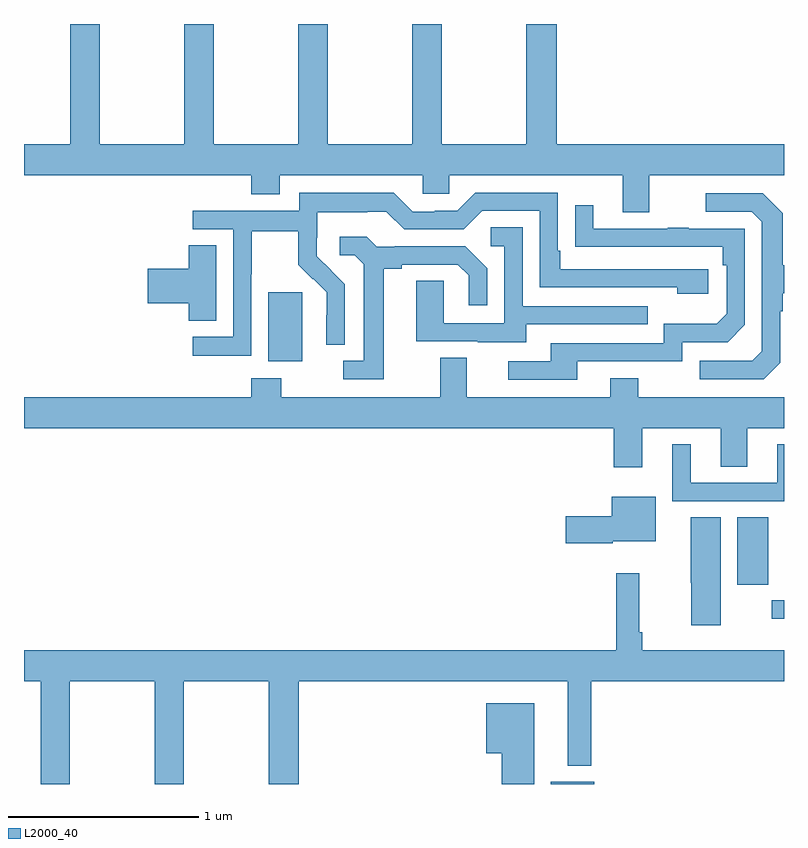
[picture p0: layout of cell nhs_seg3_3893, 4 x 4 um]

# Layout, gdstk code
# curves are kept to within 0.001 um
import gdstk
lib = gdstk.Library(unit=1e-6, precision=1e-09)
def R(c, l, rs):  # rectangles x0, y0, x1, y1
    for r in rs: c.add(gdstk.rectangle(r[:2], r[2:], *l))
def P(c, l, *ps):  # polygons
    for p in ps: c.add(gdstk.Polygon(p, *l))
L2000_40 = (2000, 40)

nhs_seg3_3893 = lib.new_cell('nhs_seg3_3893')
R(nhs_seg3_3893, L2000_40, [(315.773,676.4,316,676.411), (316.935,677.27,317,677.367), (316.754,677.448,316.918,677.804), (314.285,678.626,314.464,678.987)])
P(nhs_seg3_3893, L2000_40, [(316.291,679.604),(317,679.604),(317,679.768),(315.803,679.768),(315.803,680.4),(315.643,680.4),(315.643,679.768),(315.198,679.768),(315.198,680.4),(315.043,680.4),(315.043,679.768),(314.598,679.768),(314.598,680.4),(314.443,680.4),(314.443,679.768),(313.998,679.768),(313.998,680.4),(313.843,680.4),(313.843,679.768),(313.398,679.768),(313.398,680.4),(313.243,680.4),(313.243,679.768),(313,679.768),(313,679.604),(314.195,679.604),(314.195,679.505),(314.347,679.505),(314.347,679.604),(315.099,679.604),(315.099,679.506),(315.237,679.506),(315.237,679.604),(316.151,679.604),(316.151,679.41),(316.291,679.41)],
  [(314.196,679.084),(314.199,679.084),(314.199,679.308),(314.443,679.308),(314.443,679.133),(314.52,679.056),(314.523,679.059),(314.594,678.989),(314.594,678.866),(314.592,678.866),(314.592,678.712),(314.688,678.712),(314.688,679.03),(314.542,679.178),(314.542,679.275),(314.544,679.275),(314.544,679.409),(314.807,679.409),(314.807,679.413),(314.907,679.413),(315,679.32),(315.315,679.32),(315.411,679.416),(315.714,679.416),(315.714,679.014),(316.439,679.014),(316.439,678.98),(316.6,678.98),(316.6,679.11),(315.823,679.11),(315.823,679.207),(315.81,679.207),(315.81,679.512),(315.375,679.512),(315.279,679.416),(315.161,679.416),(315.161,679.413),(315.045,679.413),(314.945,679.513),(314.448,679.513),(314.448,679.416),(313.887,679.416),(313.887,679.32),(314.1,679.32),(314.1,678.753),(313.887,678.753),(313.887,678.655),(314.196,678.655)],
  [(316.98,678.618),(316.98,678.887),(316.993,678.887),(316.993,678.983),(317,678.983),(317,679.131),(316.993,679.131),(316.993,679.403),(316.887,679.509),(316.587,679.509),(316.587,679.413),(316.83,679.413),(316.884,679.359),(316.884,678.678),(316.833,678.627),(316.557,678.627),(316.557,678.531),(316.893,678.531)],
  [(315.913,678.624),(316.464,678.624),(316.464,678.726),(316.704,678.726),(316.794,678.816),(316.794,679.323),(316.499,679.323),(316.499,679.328),(316.387,679.328),(316.387,679.323),(315.997,679.323),(315.997,679.447),(315.901,679.447),(315.901,679.228),(316.678,679.227),(316.678,679.13),(316.698,679.13),(316.698,678.876),(316.645,678.823),(316.368,678.823),(316.368,678.72),(315.773,678.72),(315.773,678.624),(315.549,678.624),(315.549,678.528),(315.913,678.528)],
  [(315.643,678.819),(316.283,678.819),(316.283,678.915),(315.624,678.915),(315.624,679.331),(315.456,679.331),(315.456,679.23),(315.528,679.23),(315.528,678.825),(315.21,678.825),(315.21,679.049),(315.065,679.049),(315.065,678.729),(315.389,678.729),(315.389,678.725),(315.643,678.725)],
  [(314.893,679.112),(314.989,679.112),(314.989,679.134),(315.284,679.134),(315.341,679.077),(315.341,678.921),(315.438,678.921),(315.438,679.114),(315.322,679.23),(314.95,679.23),(314.95,679.227),(314.856,679.227),(314.804,679.279),(314.661,679.279),(314.661,679.182),(314.742,679.182),(314.789,679.135),(314.789,678.627),(314.679,678.627),(314.679,678.531),(314.893,678.531)],
  [(314.011,679.235),(313.868,679.235),(313.868,679.112),(313.65,679.112),(313.65,678.929),(313.868,678.929),(313.868,678.838),(314.011,678.838)],
  [(316.255,678.272),(316.667,678.272),(316.667,678.07),(316.807,678.07),(316.807,678.272),(317,678.272),(317,678.436),(316.233,678.436),(316.233,678.535),(316.085,678.535),(316.085,678.436),(315.331,678.436),(315.331,678.644),(315.191,678.644),(315.191,678.436),(314.355,678.436),(314.355,678.535),(314.195,678.535),(314.195,678.436),(313,678.436),(313,678.272),(316.103,678.272),(316.103,678.066),(316.255,678.066)],
  [(317,678.187),(316.964,678.187),(316.964,677.985),(316.51,677.985),(316.51,678.187),(316.412,678.187),(316.412,677.889),(317,677.889)],
  [(316.098,677.678),(316.324,677.678),(316.324,677.911),(316.094,677.911),(316.094,677.808),(315.852,677.808),(315.852,677.666),(316.098,677.666)],
  [(316.666,677.804),(316.508,677.804),(316.508,677.46),(316.511,677.46),(316.511,677.235),(316.666,677.235)],
  [(313.242,676.94),(313.687,676.94),(313.687,676.4),(313.842,676.4),(313.842,676.94),(314.287,676.94),(314.287,676.4),(314.447,676.4),(314.447,676.94),(315.863,676.94),(315.863,676.496),(315.985,676.496),(315.985,676.94),(317,676.94),(317,677.104),(316.253,677.104),(316.253,677.2),(316.238,677.2),(316.238,677.509),(316.117,677.509),(316.117,677.104),(313,677.104),(313,676.94),(313.087,676.94),(313.087,676.4),(313.242,676.4)],
  [(315.685,676.825),(315.434,676.825),(315.434,676.562),(315.515,676.562),(315.515,676.4),(315.685,676.4)])

lib.write_gds('nhs_seg3_3893.gds')
